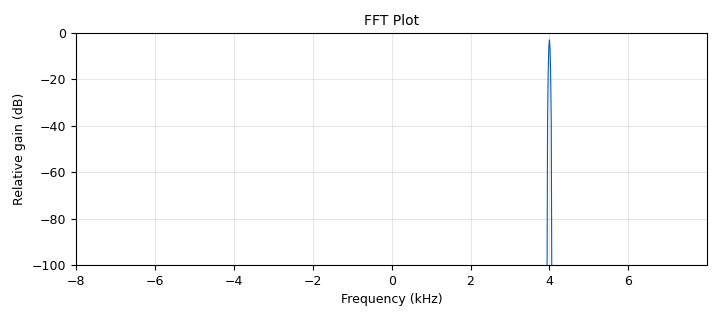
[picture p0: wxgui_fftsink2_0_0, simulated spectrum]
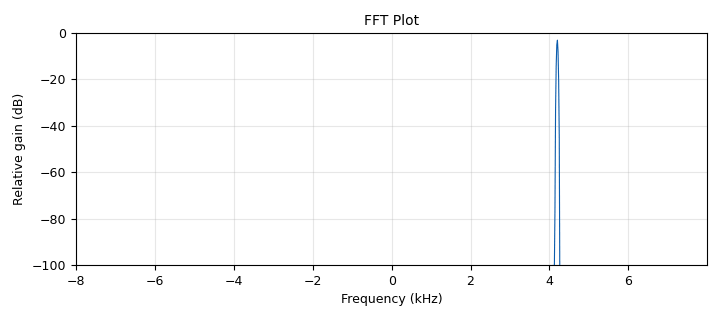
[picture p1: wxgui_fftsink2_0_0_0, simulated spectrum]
<?xml version='1.0' encoding='utf-8'?>
<flow_graph>
<block>
<key>options</key>
<param><key>id</key><value>top_block</value></param>
<param><key>generate_options</key><value>wx_gui</value></param>
<param><key>category</key><value>Custom</value></param>
</block>
<block>
<key>virtual_source</key>
<param><key>id</key><value>virtual_source_0_0</value></param>
<param><key>stream_id</key><value>s2</value></param>
</block>
<block>
<key>notebook</key>
<param><key>id</key><value>nb</value></param>
<param><key>style</key><value>wx.NB_TOP</value></param>
<param><key>labels</key><value>['tab1', 'fft_max', 'tab3','tab4']</value></param>
</block>
<block>
<key>blocks_vector_to_stream</key>
<param><key>id</key><value>blocks_vector_to_stream_0_0_0_1_0</value></param>
<param><key>type</key><value>float</value></param>
<param><key>num_items</key><value>fft_window</value></param>
</block>
<block>
<key>wxgui_numbersink2</key>
<param><key>id</key><value>wxgui_numbersink2_0</value></param>
<param><key>type</key><value>float</value></param>
<param><key>title</key><value>Channel1</value></param>
<param><key>units</key><value>Units</value></param>
<param><key>samp_rate</key><value>samp_rate</value></param>
<param><key>min_value</key><value>-100</value></param>
<param><key>max_value</key><value>100</value></param>
<param><key>factor</key><value>1.0</value></param>
<param><key>decimal_places</key><value>10</value></param>
<param><key>ref_level</key><value>0</value></param>
<param><key>number_rate</key><value>15</value></param>
<param><key>peak_hold</key><value>False</value></param>
<param><key>average</key><value>False</value></param>
<param><key>avg_alpha</key><value>0</value></param>
<param><key>show_gauge</key><value>True</value></param>
<param><key>notebook</key><value>nb,1</value></param>
</block>
<block>
<key>wxgui_numbersink2</key>
<param><key>id</key><value>wxgui_numbersink2_0_0</value></param>
<param><key>type</key><value>float</value></param>
<param><key>title</key><value>Channel2</value></param>
<param><key>units</key><value>Units</value></param>
<param><key>samp_rate</key><value>samp_rate</value></param>
<param><key>min_value</key><value>-100</value></param>
<param><key>max_value</key><value>100</value></param>
<param><key>factor</key><value>1.0</value></param>
<param><key>decimal_places</key><value>10</value></param>
<param><key>ref_level</key><value>0</value></param>
<param><key>number_rate</key><value>15</value></param>
<param><key>peak_hold</key><value>False</value></param>
<param><key>average</key><value>False</value></param>
<param><key>avg_alpha</key><value>0</value></param>
<param><key>show_gauge</key><value>True</value></param>
<param><key>notebook</key><value>nb,1</value></param>
</block>
<block>
<key>blocks_vector_to_stream</key>
<param><key>id</key><value>blocks_vector_to_stream_0_0_0_0</value></param>
<param><key>type</key><value>float</value></param>
<param><key>num_items</key><value>fft_window</value></param>
</block>
<block>
<key>blocks_vector_to_stream</key>
<param><key>id</key><value>blocks_vector_to_stream_0_0_0_1</value></param>
<param><key>type</key><value>float</value></param>
<param><key>num_items</key><value>fft_window</value></param>
</block>
<block>
<key>wxgui_numbersink2</key>
<param><key>id</key><value>wxgui_numbersink2_0_0_0</value></param>
<param><key>type</key><value>float</value></param>
<param><key>title</key><value>Shifted Output</value></param>
<param><key>units</key><value>Units</value></param>
<param><key>samp_rate</key><value>samp_rate</value></param>
<param><key>min_value</key><value>-100</value></param>
<param><key>max_value</key><value>100</value></param>
<param><key>factor</key><value>1.0</value></param>
<param><key>decimal_places</key><value>10</value></param>
<param><key>ref_level</key><value>0</value></param>
<param><key>number_rate</key><value>15</value></param>
<param><key>peak_hold</key><value>False</value></param>
<param><key>average</key><value>False</value></param>
<param><key>avg_alpha</key><value>0</value></param>
<param><key>show_gauge</key><value>True</value></param>
<param><key>notebook</key><value>nb,1</value></param>
</block>
<block>
<key>virtual_sink</key>
<param><key>id</key><value>virtual_sink_1</value></param>
<param><key>stream_id</key><value>s2</value></param>
</block>
<block>
<key>virtual_sink</key>
<param><key>id</key><value>virtual_sink_0</value></param>
<param><key>stream_id</key><value>s1</value></param>
</block>
<block>
<key>blocks_vector_to_stream</key>
<param><key>id</key><value>blocks_vector_to_stream_0_0_0</value></param>
<param><key>type</key><value>complex</value></param>
<param><key>num_items</key><value>fft_window</value></param>
</block>
<block>
<key>variable_slider</key>
<param><key>id</key><value>offset</value></param>
<param><key>label</key><value></value></param>
<param><key>value</key><value>200</value></param>
<param><key>min</key><value>0</value></param>
<param><key>max</key><value>2000</value></param>
<param><key>num_steps</key><value>100</value></param>
<param><key>style</key><value>wx.SL_HORIZONTAL</value></param>
<param><key>converver</key><value>float_converter</value></param>
<param><key>notebook</key><value>nb,1</value></param>
</block>
<block>
<key>variable_slider</key>
<param><key>id</key><value>fft_shift</value></param>
<param><key>label</key><value></value></param>
<param><key>value</key><value>1</value></param>
<param><key>min</key><value>0</value></param>
<param><key>max</key><value>100</value></param>
<param><key>num_steps</key><value>100</value></param>
<param><key>style</key><value>wx.SL_HORIZONTAL</value></param>
<param><key>converver</key><value>int_converter</value></param>
<param><key>notebook</key><value>nb,2</value></param>
</block>
<block>
<key>blocks_multiply_const_vxx</key>
<param><key>id</key><value>blocks_multiply_const_vxx_0</value></param>
<param><key>type</key><value>complex</value></param>
<param><key>const</key><value>2**-10</value></param>
</block>
<block>
<key>wxgui_fftsink2</key>
<param><key>id</key><value>wxgui_fftsink2_0_0</value></param>
<param><key>type</key><value>complex</value></param>
<param><key>title</key><value>FFT Plot</value></param>
<param><key>samp_rate</key><value>samp_rate</value></param>
<param><key>baseband_freq</key><value>0</value></param>
<param><key>y_per_div</key><value>10</value></param>
<param><key>y_divs</key><value>10</value></param>
<param><key>ref_level</key><value>0</value></param>
<param><key>ref_scale</key><value>2.0</value></param>
<param><key>fft_size</key><value>fft_window</value></param>
<param><key>fft_rate</key><value>15</value></param>
<param><key>peak_hold</key><value>False</value></param>
<param><key>average</key><value>False</value></param>
<param><key>avg_alpha</key><value>0</value></param>
<param><key>win</key><value>window.blackmanharris</value></param>
<param><key>notebook</key><value>nb,0</value></param>
<param><key>freqvar</key><value>None</value></param>
</block>
<block>
<key>wxgui_fftsink2</key>
<param><key>id</key><value>wxgui_fftsink2_0_0_0</value></param>
<param><key>type</key><value>complex</value></param>
<param><key>title</key><value>FFT Plot</value></param>
<param><key>samp_rate</key><value>samp_rate</value></param>
<param><key>baseband_freq</key><value>0</value></param>
<param><key>y_per_div</key><value>10</value></param>
<param><key>y_divs</key><value>10</value></param>
<param><key>ref_level</key><value>0</value></param>
<param><key>ref_scale</key><value>2.0</value></param>
<param><key>fft_size</key><value>fft_window</value></param>
<param><key>fft_rate</key><value>15</value></param>
<param><key>peak_hold</key><value>False</value></param>
<param><key>average</key><value>False</value></param>
<param><key>avg_alpha</key><value>0</value></param>
<param><key>win</key><value>window.blackmanharris</value></param>
<param><key>notebook</key><value>nb,0</value></param>
<param><key>freqvar</key><value>None</value></param>
</block>
<block>
<key>variable</key>
<param><key>id</key><value>fft_window</value></param>
<param><key>value</key><value>2**10</value></param>
</block>
<block>
<key>eecs_fft_max</key>
<param><key>id</key><value>eecs_fft_max_0</value></param>
<param><key>window</key><value>fft_window</value></param>
</block>
<block>
<key>blocks_stream_to_vector</key>
<param><key>id</key><value>blocks_stream_to_vector_0_0_0</value></param>
<param><key>type</key><value>complex</value></param>
<param><key>num_items</key><value>fft_window</value></param>
</block>
<block>
<key>fft_vxx</key>
<param><key>id</key><value>fft_vxx_0</value></param>
<param><key>type</key><value>complex</value></param>
<param><key>fft_size</key><value>fft_window</value></param>
<param><key>forward</key><value>True</value></param>
<param><key>window</key><value>window_type</value></param>
<param><key>shift</key><value>True</value></param>
</block>
<block>
<key>analog_sig_source_x</key>
<param><key>id</key><value>analog_sig_source_x_0_0</value></param>
<param><key>type</key><value>complex</value></param>
<param><key>samp_rate</key><value>samp_rate</value></param>
<param><key>waveform</key><value>analog.GR_COS_WAVE</value></param>
<param><key>freq</key><value>4000+offset</value></param>
<param><key>amp</key><value>1</value></param>
<param><key>offset</key><value>0</value></param>
</block>
<block>
<key>gr_null_sink</key>
<param><key>id</key><value>gr_null_sink_2</value></param>
<param><key>type</key><value>complex</value></param>
<param><key>vlen</key><value>1</value></param>
</block>
<block>
<key>gr_null_sink</key>
<param><key>id</key><value>gr_null_sink_4</value></param>
<param><key>type</key><value>complex</value></param>
<param><key>vlen</key><value>1</value></param>
</block>
<block>
<key>gr_null_sink</key>
<param><key>id</key><value>gr_null_sink_1</value></param>
<param><key>type</key><value>complex</value></param>
<param><key>vlen</key><value>1</value></param>
</block>
<block>
<key>gr_complex_to_real</key>
<param><key>id</key><value>gr_complex_to_real_0_0_0</value></param>
<param><key>vlen</key><value>1</value></param>
</block>
<block>
<key>virtual_source</key>
<param><key>id</key><value>virtual_source_0</value></param>
<param><key>stream_id</key><value>s1</value></param>
</block>
<block>
<key>blocks_throttle</key>
<param><key>id</key><value>blocks_throttle_0_0</value></param>
<param><key>type</key><value>complex</value></param>
<param><key>samples_per_second</key><value>samp_rate</value></param>
</block>
<block>
<key>blocks_throttle</key>
<param><key>id</key><value>blocks_throttle_0</value></param>
<param><key>type</key><value>complex</value></param>
<param><key>samples_per_second</key><value>samp_rate</value></param>
</block>
<block>
<key>wxgui_scopesink2</key>
<param><key>id</key><value>wxgui_scopesink2_0</value></param>
<param><key>type</key><value>float</value></param>
<param><key>title</key><value>Reference/Offset/Shifted</value></param>
<param><key>samp_rate</key><value>samp_rate</value></param>
<param><key>v_scale</key><value>0</value></param>
<param><key>v_offset</key><value>0</value></param>
<param><key>t_scale</key><value>0</value></param>
<param><key>ac_couple</key><value>False</value></param>
<param><key>xy_mode</key><value>False</value></param>
<param><key>num_inputs</key><value>2</value></param>
<param><key>notebook</key><value>nb,3</value></param>
<param><key>trig_mode</key><value>gr.gr_TRIG_MODE_AUTO</value></param>
<param><key>y_axis_label</key><value>Counts</value></param>
</block>
<block>
<key>analog_sig_source_x</key>
<param><key>id</key><value>analog_sig_source_x_0</value></param>
<param><key>type</key><value>complex</value></param>
<param><key>samp_rate</key><value>samp_rate</value></param>
<param><key>waveform</key><value>analog.GR_COS_WAVE</value></param>
<param><key>freq</key><value>4000</value></param>
<param><key>amp</key><value>1</value></param>
<param><key>offset</key><value>0</value></param>
</block>
<block>
<key>gr_complex_to_real</key>
<param><key>id</key><value>gr_complex_to_real_0_0_0_0_0</value></param>
<param><key>vlen</key><value>1</value></param>
</block>
<block>
<key>wxgui_fftsink2</key>
<param><key>id</key><value>wxgui_fftsink2_0</value></param>
<param><key>type</key><value>complex</value></param>
<param><key>title</key><value>FFT Plot</value></param>
<param><key>samp_rate</key><value>samp_rate</value></param>
<param><key>baseband_freq</key><value>0</value></param>
<param><key>y_per_div</key><value>10</value></param>
<param><key>y_divs</key><value>10</value></param>
<param><key>ref_level</key><value>0</value></param>
<param><key>ref_scale</key><value>2.0</value></param>
<param><key>fft_size</key><value>fft_window</value></param>
<param><key>fft_rate</key><value>15</value></param>
<param><key>peak_hold</key><value>False</value></param>
<param><key>average</key><value>False</value></param>
<param><key>avg_alpha</key><value>0</value></param>
<param><key>win</key><value>None</value></param>
<param><key>notebook</key><value>nb,2</value></param>
<param><key>freqvar</key><value>None</value></param>
</block>
<block>
<key>fft_vxx</key>
<param><key>id</key><value>fft_vxx_0_0</value></param>
<param><key>type</key><value>complex</value></param>
<param><key>fft_size</key><value>fft_window</value></param>
<param><key>forward</key><value>True</value></param>
<param><key>window</key><value>window_type</value></param>
<param><key>shift</key><value>True</value></param>
</block>
<block>
<key>gr_null_source</key>
<param><key>id</key><value>gr_null_source_0</value></param>
<param><key>type</key><value>complex</value></param>
<param><key>vlen</key><value>fft_window</value></param>
</block>
<block>
<key>gr_null_sink</key>
<param><key>id</key><value>gr_null_sink_0</value></param>
<param><key>type</key><value>float</value></param>
<param><key>vlen</key><value>fft_window</value></param>
</block>
<block>
<key>virtual_source</key>
<param><key>id</key><value>virtual_source_0_1_0</value></param>
<param><key>stream_id</key><value>s1</value></param>
</block>
<block>
<key>analog_sig_source_x</key>
<param><key>id</key><value>analog_sig_source_x_0_1</value></param>
<param><key>type</key><value>complex</value></param>
<param><key>samp_rate</key><value>samp_rate</value></param>
<param><key>waveform</key><value>analog.GR_COS_WAVE</value></param>
<param><key>freq</key><value>4000+offset</value></param>
<param><key>amp</key><value>1</value></param>
<param><key>offset</key><value>0</value></param>
</block>
<block>
<key>wxgui_scopesink2</key>
<param><key>id</key><value>wxgui_scopesink2_0_0</value></param>
<param><key>type</key><value>float</value></param>
<param><key>title</key><value>freq and phase shifted @ offset freq</value></param>
<param><key>samp_rate</key><value>samp_rate</value></param>
<param><key>v_scale</key><value>0</value></param>
<param><key>v_offset</key><value>0</value></param>
<param><key>t_scale</key><value>0</value></param>
<param><key>ac_couple</key><value>False</value></param>
<param><key>xy_mode</key><value>False</value></param>
<param><key>num_inputs</key><value>2</value></param>
<param><key>notebook</key><value>nb,3</value></param>
<param><key>trig_mode</key><value>gr.gr_TRIG_MODE_AUTO</value></param>
<param><key>y_axis_label</key><value>Counts</value></param>
</block>
<block>
<key>gr_complex_to_real</key>
<param><key>id</key><value>gr_complex_to_real_0_0_0_0</value></param>
<param><key>vlen</key><value>1</value></param>
</block>
<block>
<key>blocks_stream_to_vector</key>
<param><key>id</key><value>blocks_stream_to_vector_0_0</value></param>
<param><key>type</key><value>complex</value></param>
<param><key>num_items</key><value>fft_window</value></param>
</block>
<block>
<key>eecs_fft_shift</key>
<param><key>id</key><value>eecs_fft_shift_0</value></param>
<param><key>window</key><value>fft_window</value></param>
<param><key>shift</key><value>fft_shift</value></param>
</block>
<block>
<key>variable</key>
<param><key>id</key><value>samp_rate</value></param>
<param><key>value</key><value>4*4000</value></param>
</block>
<block>
<key>gr_complex_to_real</key>
<param><key>id</key><value>gr_complex_to_real_0</value></param>
<param><key>vlen</key><value>1</value></param>
</block>
<block>
<key>eecs_fft_max</key>
<param><key>id</key><value>eecs_fft_max_0_0</value></param>
<param><key>window</key><value>fft_window</value></param>
</block>
<block>
<key>fft_vxx</key>
<param><key>id</key><value>fft_vxx_0_0_0</value></param>
<param><key>type</key><value>complex</value></param>
<param><key>fft_size</key><value>fft_window</value></param>
<param><key>forward</key><value>False</value></param>
<param><key>window</key><value>window_type</value></param>
<param><key>shift</key><value>True</value></param>
</block>
<block>
<key>variable</key>
<param><key>id</key><value>window_type</value></param>
<param><key>value</key><value>window.blackmanharris(fft_window)</value></param>
</block>
<block>
<key>eecs_phase_shifter</key>
<param><key>id</key><value>eecs_phase_shifter_0</value></param>
<param><key>Rs</key><value>100*3e8/4e3</value></param>
<param><key>dx</key><value>3e8/(4e3*2)</value></param>
<param><key>theta</key><value>180/1.4</value></param>
<param><key>wl</key><value>3e8/4e3</value></param>
<param><key>ph0</key><value>0</value></param>
</block>
<connection><source_block_id>virtual_source_0</source_block_id><sink_block_id>wxgui_fftsink2_0_0</sink_block_id><source_key>0</source_key><sink_key>0</sink_key></connection>
<connection><source_block_id>virtual_source_0_0</source_block_id><sink_block_id>wxgui_fftsink2_0_0_0</sink_block_id><source_key>0</source_key><sink_key>0</sink_key></connection>
<connection><source_block_id>analog_sig_source_x_0_0</source_block_id><sink_block_id>blocks_throttle_0_0</sink_block_id><source_key>0</source_key><sink_key>0</sink_key></connection>
<connection><source_block_id>analog_sig_source_x_0</source_block_id><sink_block_id>blocks_throttle_0</sink_block_id><source_key>0</source_key><sink_key>0</sink_key></connection>
<connection><source_block_id>blocks_vector_to_stream_0_0_0_0</source_block_id><sink_block_id>wxgui_numbersink2_0</sink_block_id><source_key>0</source_key><sink_key>0</sink_key></connection>
<connection><source_block_id>blocks_vector_to_stream_0_0_0_1</source_block_id><sink_block_id>wxgui_numbersink2_0_0</sink_block_id><source_key>0</source_key><sink_key>0</sink_key></connection>
<connection><source_block_id>blocks_vector_to_stream_0_0_0</source_block_id><sink_block_id>wxgui_fftsink2_0</sink_block_id><source_key>0</source_key><sink_key>0</sink_key></connection>
<connection><source_block_id>fft_vxx_0_0_0</source_block_id><sink_block_id>blocks_vector_to_stream_0_0_0</sink_block_id><source_key>0</source_key><sink_key>0</sink_key></connection>
<connection><source_block_id>eecs_fft_max_0_0</source_block_id><sink_block_id>blocks_vector_to_stream_0_0_0_1_0</sink_block_id><source_key>0</source_key><sink_key>0</sink_key></connection>
<connection><source_block_id>eecs_fft_max_0_0</source_block_id><sink_block_id>gr_null_sink_0</sink_block_id><source_key>1</source_key><sink_key>0</sink_key></connection>
<connection><source_block_id>blocks_vector_to_stream_0_0_0_1_0</source_block_id><sink_block_id>wxgui_numbersink2_0_0_0</sink_block_id><source_key>0</source_key><sink_key>0</sink_key></connection>
<connection><source_block_id>blocks_throttle_0</source_block_id><sink_block_id>virtual_sink_0</sink_block_id><source_key>0</source_key><sink_key>0</sink_key></connection>
<connection><source_block_id>blocks_throttle_0_0</source_block_id><sink_block_id>virtual_sink_1</sink_block_id><source_key>0</source_key><sink_key>0</sink_key></connection>
<connection><source_block_id>blocks_vector_to_stream_0_0_0</source_block_id><sink_block_id>blocks_multiply_const_vxx_0</sink_block_id><source_key>0</source_key><sink_key>0</sink_key></connection>
<connection><source_block_id>blocks_multiply_const_vxx_0</source_block_id><sink_block_id>gr_complex_to_real_0</sink_block_id><source_key>0</source_key><sink_key>0</sink_key></connection>
<connection><source_block_id>gr_complex_to_real_0_0_0</source_block_id><sink_block_id>wxgui_scopesink2_0</sink_block_id><source_key>0</source_key><sink_key>0</sink_key></connection>
<connection><source_block_id>virtual_source_0_1_0</source_block_id><sink_block_id>gr_complex_to_real_0_0_0</sink_block_id><source_key>0</source_key><sink_key>0</sink_key></connection>
<connection><source_block_id>gr_complex_to_real_0</source_block_id><sink_block_id>wxgui_scopesink2_0</sink_block_id><source_key>0</source_key><sink_key>1</sink_key></connection>
<connection><source_block_id>gr_null_source_0</source_block_id><sink_block_id>eecs_fft_max_0_0</sink_block_id><source_key>0</source_key><sink_key>1</sink_key></connection>
<connection><source_block_id>eecs_fft_shift_0</source_block_id><sink_block_id>eecs_fft_max_0_0</sink_block_id><source_key>0</source_key><sink_key>0</sink_key></connection>
<connection><source_block_id>fft_vxx_0_0</source_block_id><sink_block_id>eecs_fft_max_0</sink_block_id><source_key>0</source_key><sink_key>1</sink_key></connection>
<connection><source_block_id>eecs_fft_max_0</source_block_id><sink_block_id>blocks_vector_to_stream_0_0_0_1</sink_block_id><source_key>1</source_key><sink_key>0</sink_key></connection>
<connection><source_block_id>fft_vxx_0_0</source_block_id><sink_block_id>eecs_fft_shift_0</sink_block_id><source_key>0</source_key><sink_key>0</sink_key></connection>
<connection><source_block_id>eecs_fft_shift_0</source_block_id><sink_block_id>fft_vxx_0_0_0</sink_block_id><source_key>0</source_key><sink_key>0</sink_key></connection>
<connection><source_block_id>eecs_fft_max_0</source_block_id><sink_block_id>blocks_vector_to_stream_0_0_0_0</sink_block_id><source_key>0</source_key><sink_key>0</sink_key></connection>
<connection><source_block_id>fft_vxx_0</source_block_id><sink_block_id>eecs_fft_max_0</sink_block_id><source_key>0</source_key><sink_key>0</sink_key></connection>
<connection><source_block_id>blocks_stream_to_vector_0_0</source_block_id><sink_block_id>fft_vxx_0_0</sink_block_id><source_key>0</source_key><sink_key>0</sink_key></connection>
<connection><source_block_id>blocks_stream_to_vector_0_0_0</source_block_id><sink_block_id>fft_vxx_0</sink_block_id><source_key>0</source_key><sink_key>0</sink_key></connection>
<connection><source_block_id>blocks_throttle_0</source_block_id><sink_block_id>blocks_stream_to_vector_0_0_0</sink_block_id><source_key>0</source_key><sink_key>0</sink_key></connection>
<connection><source_block_id>eecs_phase_shifter_0</source_block_id><sink_block_id>gr_null_sink_4</sink_block_id><source_key>3</source_key><sink_key>0</sink_key></connection>
<connection><source_block_id>eecs_phase_shifter_0</source_block_id><sink_block_id>gr_null_sink_1</sink_block_id><source_key>2</source_key><sink_key>0</sink_key></connection>
<connection><source_block_id>eecs_phase_shifter_0</source_block_id><sink_block_id>gr_null_sink_2</sink_block_id><source_key>1</source_key><sink_key>0</sink_key></connection>
<connection><source_block_id>eecs_phase_shifter_0</source_block_id><sink_block_id>blocks_stream_to_vector_0_0</sink_block_id><source_key>0</source_key><sink_key>0</sink_key></connection>
<connection><source_block_id>blocks_throttle_0_0</source_block_id><sink_block_id>eecs_phase_shifter_0</sink_block_id><source_key>0</source_key><sink_key>0</sink_key></connection>
<connection><source_block_id>analog_sig_source_x_0_1</source_block_id><sink_block_id>gr_complex_to_real_0_0_0_0_0</sink_block_id><source_key>0</source_key><sink_key>0</sink_key></connection>
<connection><source_block_id>gr_complex_to_real_0_0_0_0_0</source_block_id><sink_block_id>wxgui_scopesink2_0_0</sink_block_id><source_key>0</source_key><sink_key>0</sink_key></connection>
<connection><source_block_id>gr_complex_to_real_0_0_0_0</source_block_id><sink_block_id>wxgui_scopesink2_0_0</sink_block_id><source_key>0</source_key><sink_key>1</sink_key></connection>
<connection><source_block_id>eecs_phase_shifter_0</source_block_id><sink_block_id>gr_complex_to_real_0_0_0_0</sink_block_id><source_key>0</source_key><sink_key>0</sink_key></connection>
</flow_graph>
